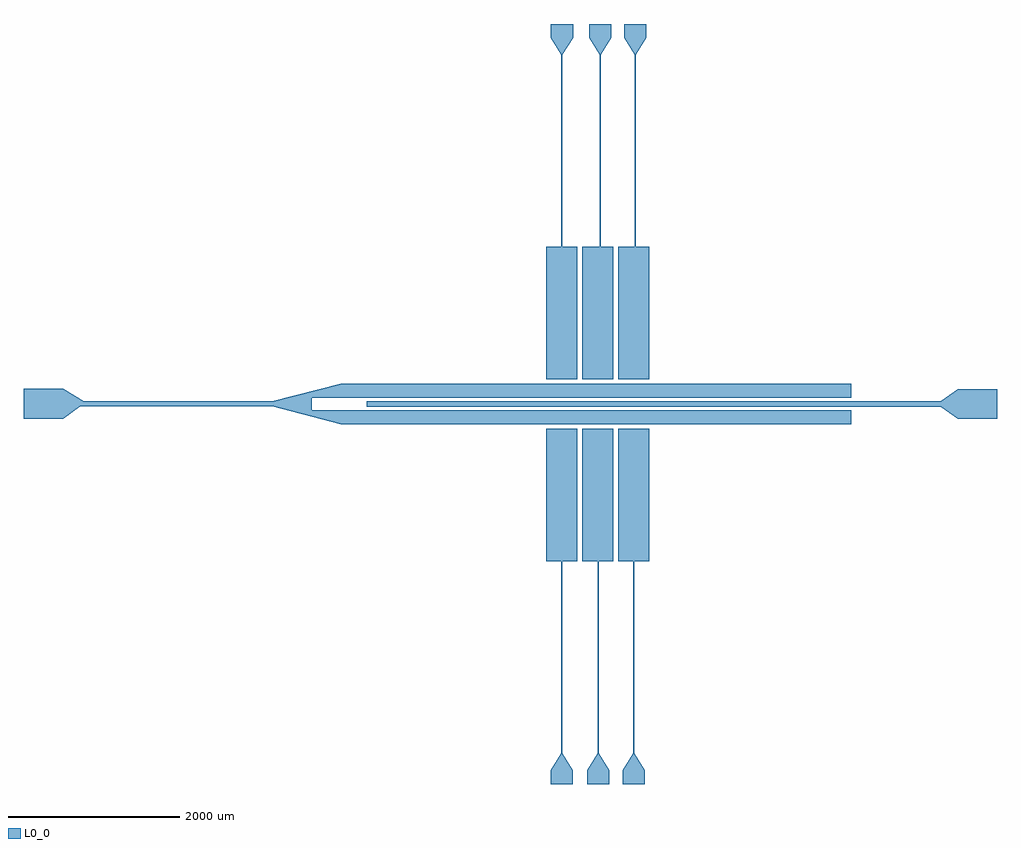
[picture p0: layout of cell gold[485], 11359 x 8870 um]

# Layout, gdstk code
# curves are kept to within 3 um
import gdstk
lib = gdstk.Library(unit=1e-6, precision=1e-09)
def P(c, l, *ps):  # polygons
    for p in ps: c.add(gdstk.Polygon(p, *l))
L0_0 = (0, 0)

gold_485_ = lib.new_cell('gold[485]')
P(gold_485_, L0_0, [(4680,-230),(4680,120),(4220,120),(4020,-25),(-2680,-25),(-2680,-85),(4020,-85),(4220,-230)],
  [(2980,-290),(2980,-130),(-3320,-130),(-3320,20),(2980,20),(2980,180),(-2980,180),(-3780,-20),(-5980,-21.275),(-6219,123),(-6679,123),(-6679,-227),(-6219,-227),(-6019,-80),(-3780,-80),(-2980,-290)],
  [(-220,235),(-220,1780),(-395,1780),(-395,4020),(-270,4220),(-270,4380),(-530,4380),(-530,4220),(-405,4020),(-405,1780),(-580,1780),(-580,235)],
  [(200,235),(200,1780),(54,1780),(54,4020),(179,4220),(179,4380),(-81,4380),(-81,4220),(44,4020),(44,1780),(-160,1780),(-160,235)],
  [(618,235),(618,1780),(461,1780),(461,4020),(586,4220),(586,4380),(326,4380),(326,4220),(451,4020),(451,1780),(258,1780),(258,235)],
  [(-271,-4490),(-271,-4330),(-396,-4130),(-396,-1890),(-220,-1890),(-220,-345),(-580,-345),(-580,-1890),(-406,-1890),(-406,-4130),(-531,-4330),(-531,-4490)],
  [(155,-4490),(155,-4330),(30,-4130),(30,-1890),(200,-1890),(200,-345),(-160,-345),(-160,-1890),(20,-1890),(20,-4130),(-105,-4330),(-105,-4490)],
  [(568,-4490),(568,-4330),(443,-4130),(443,-1890),(618,-1890),(618,-345),(258,-345),(258,-1890),(433,-1890),(433,-4130),(308,-4330),(308,-4490)])

lib.write_gds('gold_485_.gds')
